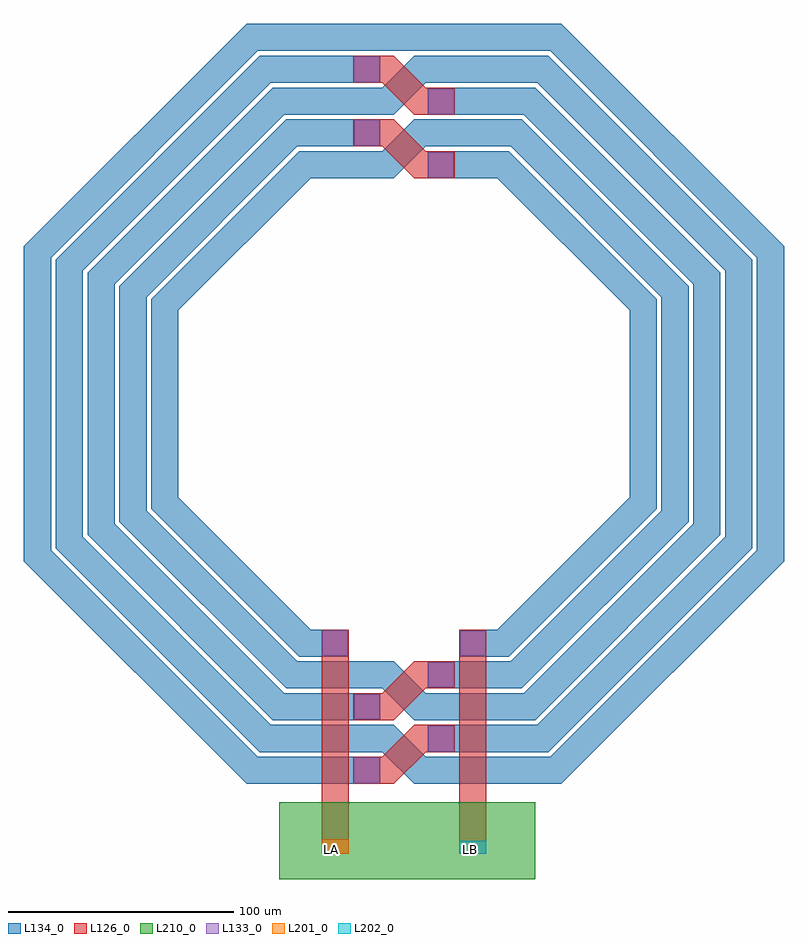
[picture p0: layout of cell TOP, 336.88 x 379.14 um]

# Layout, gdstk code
import gdstk
lib = gdstk.Library(unit=1e-6, precision=1e-09)
def R(c, l, rs):  # rectangles x0, y0, x1, y1
    for r in rs: c.add(gdstk.rectangle(r[:2], r[2:], *l))
def A(c, l, x, y, w, h, nx, ny, dx, dy):  # array of equal rectangles
    R(c, l, [(x+i*dx, y+j*dy, x+i*dx+w, y+j*dy+h) for i in range(nx) for j in range(ny)])
def P(c, l, *ps):  # polygons
    for p in ps: c.add(gdstk.Polygon(p, *l))
L126_0 = (126, 0)
L133_0 = (133, 0)
L134_0 = (134, 0)
L201_0 = (201, 0)
L202_0 = (202, 0)
L210_0 = (210, 0)

top = lib.new_cell('TOP')
P(top, L126_0, [(-119.335,448.405),(-133.455,462.525),(-146.345,462.525),(-146.345,474.525),(-128.505,474.525),(-114.385,460.405),(-101.495,460.405),(-101.495,448.405)],
  [(-119.335,476.645),(-133.455,490.765),(-146.345,490.765),(-146.345,502.765),(-128.505,502.765),(-114.385,488.645),(-101.495,488.645),(-101.495,476.645)],
  [(-146.345,208.205),(-146.345,220.205),(-133.465,220.205),(-119.365,234.305),(-101.485,234.305),(-101.485,222.305),(-114.385,222.305),(-128.485,208.205)],
  [(-146.345,180.005),(-146.345,192.005),(-133.465,192.005),(-119.365,206.105),(-101.485,206.105),(-101.485,194.105),(-114.385,194.105),(-128.485,180.005)])
A(top, L133_0, -145.695, 180.655, 0.9, 0.9, 6, 6, 1.96, 1.96)
A(top, L133_0, -112.835, 194.755, 0.9, 0.9, 6, 6, 1.96, 1.96)
A(top, L133_0, -145.695, 208.855, 0.9, 0.9, 6, 6, 1.96, 1.96)
A(top, L133_0, -112.835, 222.955, 0.9, 0.9, 6, 6, 1.96, 1.96)
A(top, L133_0, -159.795, 237.055, 0.9, 0.9, 6, 6, 1.96, 1.96)
A(top, L133_0, -98.745, 237.055, 0.9, 0.9, 6, 6, 1.96, 1.96)
A(top, L133_0, -112.845, 449.055, 0.9, 0.9, 6, 6, 1.96, 1.96)
A(top, L133_0, -145.695, 463.155, 0.9, 0.9, 6, 6, 1.96, 1.96)
A(top, L133_0, -112.845, 477.295, 0.9, 0.9, 6, 6, 1.96, 1.96)
A(top, L133_0, -145.695, 491.395, 0.9, 0.9, 6, 6, 1.96, 1.96)
R(top, L133_0, [(-146.1,180.325,-134.68,191.745), (-113.27,194.31,-101.68,205.675), (-145.96,208.555,-134.715,219.8), (-113.145,222.705,-101.715,233.95), (-99.075,236.715,-87.735,247.905), (-160.125,236.77,-148.79,248.015), (-113.065,448.62,-101.83,460), (-145.945,462.895,-134.655,474.365), (-113.065,476.815,-101.59,488.17), (-146.11,490.975,-134.695,502.45)])
R(top, L134_0, [(-134.345,504.885,-113.495,516.885)])
P(top, L134_0, [(-99.395,236.405),(-99.395,248.405),(-82.5,248.405),(-23.92,306.985),(-23.92,389.825),(-82.5,448.405),(-113.495,448.405),(-113.495,460.405),(-77.52,460.405),(-11.92,394.805),(-11.92,302.005),(-77.52,236.405)],
  [(-170.32,236.405),(-235.92,302.005),(-235.92,394.805),(-170.32,460.405),(-134.345,460.405),(-134.345,448.405),(-165.34,448.405),(-223.92,389.825),(-223.92,306.985),(-165.34,248.405),(-148.445,248.405),(-148.445,236.405)],
  [(-134.345,448.405),(-134.345,460.405),(-133.455,460.405),(-119.335,474.525),(-113.495,474.525),(-113.495,462.525),(-114.355,462.525),(-128.475,448.405)],
  [(-113.495,222.305),(-113.495,234.305),(-76.655,234.305),(-9.81,301.15),(-9.81,395.68),(-76.655,462.525),(-113.495,462.525),(-113.495,474.525),(-71.675,474.525),(2.19,400.66),(2.19,296.17),(-71.675,222.305)],
  [(-176.165,222.305),(-250.03,296.17),(-250.03,400.66),(-176.165,474.525),(-134.345,474.525),(-134.345,462.525),(-171.185,462.525),(-238.03,395.68),(-238.03,301.15),(-171.185,234.305),(-134.345,234.305),(-134.345,222.305)],
  [(-113.495,208.205),(-113.495,220.205),(-70.81,220.205),(4.3,295.315),(4.3,401.535),(-70.81,476.645),(-113.495,476.645),(-113.495,488.645),(-65.83,488.645),(16.3,406.515),(16.3,290.335),(-65.83,208.205)],
  [(-182.01,208.205),(-264.14,290.335),(-264.14,406.515),(-182.01,488.645),(-134.345,488.645),(-134.345,476.645),(-177.03,476.645),(-252.14,401.535),(-252.14,295.315),(-177.03,220.205),(-134.345,220.205),(-134.345,208.205)],
  [(-134.345,476.645),(-134.345,488.645),(-133.455,488.645),(-119.335,502.765),(-113.495,502.765),(-113.495,490.765),(-114.355,490.765),(-128.475,476.645)],
  [(-119.355,208.205),(-133.455,222.305),(-134.345,222.305),(-134.345,234.305),(-128.475,234.305),(-114.375,220.205),(-113.495,220.205),(-113.495,208.205)],
  [(-113.495,194.105),(-113.495,206.105),(-64.965,206.105),(18.41,289.48),(18.41,407.39),(-64.965,490.765),(-113.495,490.765),(-113.495,502.765),(-59.985,502.765),(30.41,412.37),(30.41,284.5),(-59.985,194.105)],
  [(-187.855,194.105),(-278.25,284.5),(-278.25,412.37),(-187.855,502.765),(-134.345,502.765),(-134.345,490.765),(-182.875,490.765),(-266.25,407.39),(-266.25,289.48),(-182.875,206.105),(-134.345,206.105),(-134.345,194.105)],
  [(-113.495,180.005),(-113.495,192.005),(-59.125,192.005),(32.52,283.65),(32.52,413.24),(-59.125,504.885),(-113.495,504.885),(-113.495,516.885),(-54.145,516.885),(44.52,418.22),(44.52,278.67),(-54.145,180.005)],
  [(-193.695,180.005),(-292.36,278.67),(-292.36,418.22),(-193.695,516.885),(-134.345,516.885),(-134.345,504.885),(-188.715,504.885),(-280.36,413.24),(-280.36,283.65),(-188.715,192.005),(-134.345,192.005),(-134.345,180.005)],
  [(-119.355,180.005),(-133.455,194.105),(-134.345,194.105),(-134.345,206.105),(-128.475,206.105),(-114.375,192.005),(-113.495,192.005),(-113.495,180.005)])
R(top, L201_0, [(-160.445,149.005,-148.445,155.39)])
R(top, L202_0, [(-99.395,149.005,-87.395,154.845)])
R(top, L210_0, [(-179.205,137.745,-65.75,171.745)])
top.add(gdstk.FlexPath([(-93.395,149.005),(-93.395,248.405)], 12, ends="flush", simple_path=True, layer=126, datatype=0))  # L126_0
top.add(gdstk.FlexPath([(-154.445,149.005),(-154.445,248.405)], 12, ends="flush", simple_path=True, layer=126, datatype=0))  # L126_0
top.add(gdstk.Label('LA', (-156.27,150.86), layer=63, texttype=0))
top.add(gdstk.Label('LB', (-94.65,150.72), layer=63, texttype=0))

lib.write_gds('TOP.gds')
